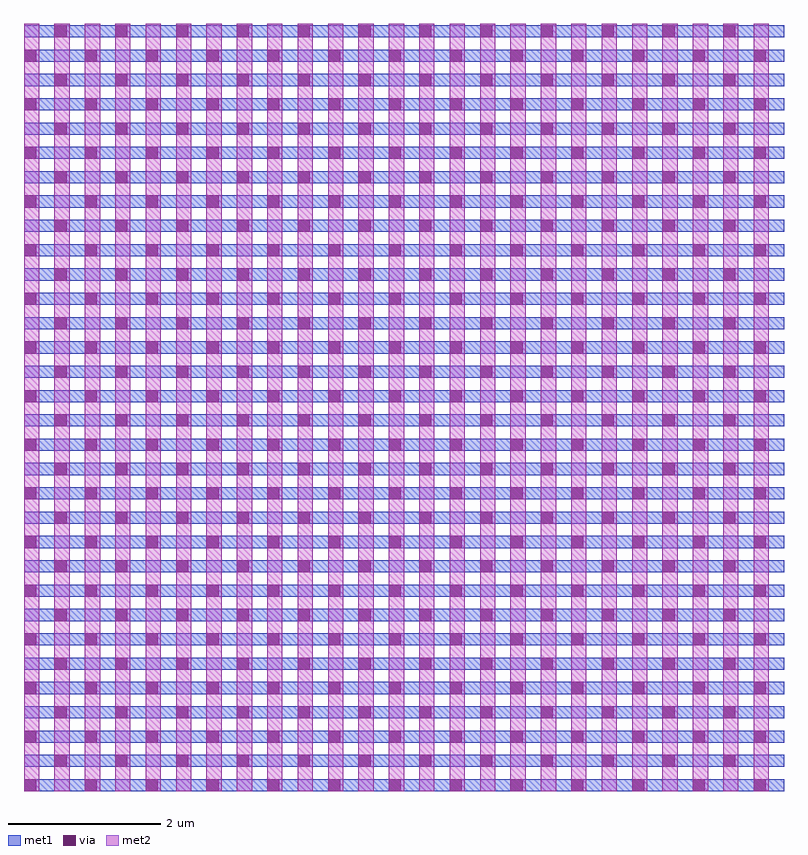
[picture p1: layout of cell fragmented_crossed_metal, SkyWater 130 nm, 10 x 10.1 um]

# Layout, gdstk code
import gdstk
lib = gdstk.Library(unit=1e-6, precision=1e-09)
def R(c, l, rs):  # rectangles x0, y0, x1, y1
    for r in rs: c.add(gdstk.rectangle(r[:2], r[2:], *l))
def A(c, l, x, y, w, h, nx, ny, dx, dy):  # array of equal rectangles
    R(c, l, [(x+i*dx, y+j*dy, x+i*dx+w, y+j*dy+h) for i in range(nx) for j in range(ny)])
met1 = (68, 20)
via = (68, 44)
met2 = (69, 20)

fragmented_crossed_metal = lib.new_cell('fragmented_crossed_metal')
A(fragmented_crossed_metal, met1, 0, 0, 0.161, 0.16, 1, 32, 0, 0.32)
A(fragmented_crossed_metal, met1, 0.161, 0, 0.162, 0.16, 1, 32, 0, 0.32)
A(fragmented_crossed_metal, met1, 0.323, 0, 0.161, 0.16, 3, 32, 0.161, 0.32)
A(fragmented_crossed_metal, met1, 0.806, 0, 0.162, 0.16, 1, 32, 0, 0.32)
A(fragmented_crossed_metal, met1, 0.968, 0, 0.161, 0.16, 1, 32, 0, 0.32)
A(fragmented_crossed_metal, met1, 1.129, 0, 0.161, 0.16, 1, 32, 0, 0.32)
A(fragmented_crossed_metal, met1, 1.29, 0, 0.162, 0.16, 1, 32, 0, 0.32)
A(fragmented_crossed_metal, met1, 1.452, 0, 0.161, 0.16, 3, 32, 0.161, 0.32)
A(fragmented_crossed_metal, met1, 1.935, 0, 0.162, 0.16, 3, 32, 0.484, 0.32)
A(fragmented_crossed_metal, met1, 2.097, 0, 0.161, 0.16, 1, 32, 0, 0.32)
A(fragmented_crossed_metal, met1, 2.258, 0, 0.161, 0.16, 1, 32, 0, 0.32)
A(fragmented_crossed_metal, met1, 2.581, 0, 0.161, 0.16, 1, 32, 0, 0.32)
A(fragmented_crossed_metal, met1, 2.742, 0, 0.161, 0.16, 1, 32, 0, 0.32)
A(fragmented_crossed_metal, met1, 3.065, 0, 0.161, 0.16, 3, 32, 0.161, 0.32)
A(fragmented_crossed_metal, met1, 3.548, 0, 0.162, 0.16, 1, 32, 0, 0.32)
A(fragmented_crossed_metal, met1, 3.71, 0, 0.161, 0.16, 1, 32, 0, 0.32)
A(fragmented_crossed_metal, met1, 3.871, 0, 0.161, 0.16, 1, 32, 0, 0.32)
A(fragmented_crossed_metal, met1, 4.032, 0, 0.162, 0.16, 1, 32, 0, 0.32)
A(fragmented_crossed_metal, met1, 4.194, 0, 0.161, 0.16, 3, 32, 0.161, 0.32)
A(fragmented_crossed_metal, met1, 4.677, 0, 0.162, 0.16, 1, 32, 0, 0.32)
A(fragmented_crossed_metal, met1, 4.839, 0, 0.161, 0.16, 1, 32, 0, 0.32)
A(fragmented_crossed_metal, met1, 5, 0, 0.161, 0.16, 1, 32, 0, 0.32)
A(fragmented_crossed_metal, met1, 5.161, 0, 0.162, 0.16, 1, 32, 0, 0.32)
A(fragmented_crossed_metal, met1, 5.323, 0, 0.161, 0.16, 3, 32, 0.161, 0.32)
A(fragmented_crossed_metal, met1, 5.806, 0, 0.162, 0.16, 1, 32, 0, 0.32)
A(fragmented_crossed_metal, met1, 5.968, 0, 0.161, 0.16, 1, 32, 0, 0.32)
A(fragmented_crossed_metal, met1, 6.129, 0, 0.161, 0.16, 1, 32, 0, 0.32)
A(fragmented_crossed_metal, met1, 6.29, 0, 0.162, 0.16, 1, 32, 0, 0.32)
A(fragmented_crossed_metal, met1, 6.452, 0, 0.161, 0.16, 3, 32, 0.161, 0.32)
A(fragmented_crossed_metal, met1, 6.935, 0, 0.162, 0.16, 3, 32, 0.484, 0.32)
A(fragmented_crossed_metal, met1, 7.097, 0, 0.161, 0.16, 1, 32, 0, 0.32)
A(fragmented_crossed_metal, met1, 7.258, 0, 0.161, 0.16, 1, 32, 0, 0.32)
A(fragmented_crossed_metal, met1, 7.581, 0, 0.161, 0.16, 1, 32, 0, 0.32)
A(fragmented_crossed_metal, met1, 7.742, 0, 0.161, 0.16, 1, 32, 0, 0.32)
A(fragmented_crossed_metal, met1, 8.065, 0, 0.161, 0.16, 3, 32, 0.161, 0.32)
A(fragmented_crossed_metal, met1, 8.548, 0, 0.162, 0.16, 1, 32, 0, 0.32)
A(fragmented_crossed_metal, met1, 8.71, 0, 0.161, 0.16, 1, 32, 0, 0.32)
A(fragmented_crossed_metal, met1, 8.871, 0, 0.161, 0.16, 1, 32, 0, 0.32)
A(fragmented_crossed_metal, met1, 9.032, 0, 0.162, 0.16, 1, 32, 0, 0.32)
A(fragmented_crossed_metal, met1, 9.194, 0, 0.161, 0.16, 3, 32, 0.161, 0.32)
A(fragmented_crossed_metal, met1, 9.677, 0, 0.162, 0.16, 1, 32, 0, 0.32)
A(fragmented_crossed_metal, met1, 9.839, 0, 0.161, 0.16, 1, 32, 0, 0.32)
A(fragmented_crossed_metal, via, 0, 0, 0.16, 0.16, 13, 16, 0.8, 0.64)
A(fragmented_crossed_metal, via, 0.4, 0.32, 0.16, 0.16, 12, 16, 0.8, 0.64)
A(fragmented_crossed_metal, met2, 0, 0, 0.2, 0.202, 25, 50, 0.4, 0.202)

lib.write_gds('fragmented_crossed_metal.gds')
